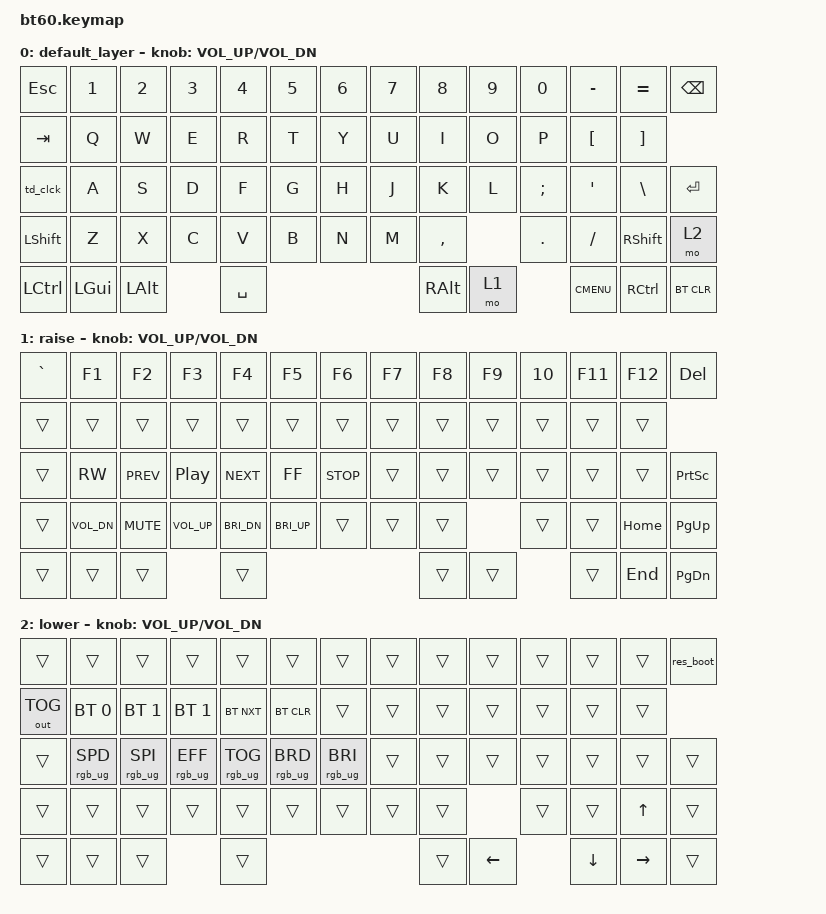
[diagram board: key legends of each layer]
#include <behaviors.dtsi>
#include <dt-bindings/zmk/keys.h>
#include <dt-bindings/zmk/bt.h>
#include <dt-bindings/zmk/rgb.h>
#include <dt-bindings/zmk/backlight.h>
#include <dt-bindings/zmk/outputs.h>

#define default 0
#define raise 1
#define lower 2

/ {
	behaviors {
		td_clck: tap_dance_caps_lower {
		    compatible = "zmk,behavior-tap-dance";
		    label = "TAP_DANCE_CAPS_LOWER";
		    #binding-cells = <0>;
		    tapping-term-ms = <200>;
		    bindings = <&mo 2>, <&kp CLCK>;
		};
		res_boot: reset_bootloader {
		    compatible = "zmk,behavior-mod-morph";
		    label = "RESET_BOOTLOAD";
		    #binding-cells = <0>;
		    bindings = <&reset>, <&bootloader>;
		    mods = <(MOD_LCTL|MOD_LSFT)>;
		};
    	};
	
	keymap {
		compatible = "zmk,keymap";
default_layer {
				// ------------------------------------------------------------------------------------------
				// | ESC |  1  |  2  |  3  |  4  |  5  |  6  |  7  |  8  |  9  |  0  |  -  |  =  |   BKSP   |
				// | TAB  |  Q  |  W  |  E  |  R  |  T  |  Y  |  U  |  I  |  O  |  P  |  [  |  ]  |         |
				// | CAPS  |  A  |  S  |  D  |  F  |  G  |  H  |  J  |  K  |  L  |  ;  |  '  |  \   | ENTER |
				// |  SHIFT    |  Z  |  X  |  C  |  V  |  B  |  N  |  M  |  ,  |  .  | /   |   SHIFT  |  2  |
				// |  CTL  |  WIN  |  ALT  |            SPACE                 |  ALT |  1   |  MENU  | CTRL |
				// ------------------------------------------------------------------------------------------
			bindings = <
				&kp ESC 	&kp N1 	&kp N2 	&kp N3 	&kp N4 	&kp N5 	&kp N6 	&kp N7 	&kp N8 	&kp N9 	&kp N0		&kp MINUS 	&kp EQUAL 	&kp BSPC
				&kp TAB  	&kp Q  	&kp W  	&kp E  	&kp R  	&kp T  	&kp Y  	&kp U  	&kp I  	&kp O  	&kp P  		&kp LBKT 	&kp RBKT
				&td_clck  	&kp A 	&kp S 	&kp D  	&kp F  	&kp G  	&kp H  	&kp J  	&kp K  	&kp L  	&kp SEMI	&kp SQT  	&kp BSLH  	&kp RET
				&kp LSHFT     	&kp Z  	&kp X  	&kp C  	&kp V  	&kp B  	&kp N  	&kp M  	&kp COMMA	&kp DOT  	&kp FSLH  	&kp RSHFT 	&mo 2
				&kp LCTRL 	&kp LGUI 	&kp LALT 		&kp SPACE              		&kp RALT 	&mo 1 		&kp K_CMENU 	&kp RCTRL 	&bt BT_CLR
			>;
			sensor-bindings = <&inc_dec_kp C_VOL_UP C_VOL_DN>;
		};
		raise {
				// ------------------------------------------------------------------------------------------
				// |GRAVE| F1  | F2  | F3  | F4  | F5  | F6  | F7  | F8  | F9  | F10 | F11 | F12 |   DEL   |
				// | TAB  |  Q  |  W  |  E  |  R  |  T  |  Y  |  U  |  I  |  O  |  P  |  [  |  ]  |        |
				// | CAPS  |RWND |PREV |PLAY |NEXT |FFWD |STOP |  J  |  K  |  L  |  ;  |  '  |  \  | PSCR  |
				// |  SHIFT    |VOLD |MUTE |VOLU |SCRD |SCRU |  N  |  M  |  ,  |  .  |  /  |   HOME  | PGUP|
				// |  CTL  |  WIN  |  ALT  |            SPACE                | ALT  |  1    |  END  | PGDN |
				// ------------------------------------------------------------------------------------------
			bindings = <
				&kp GRAVE 	&kp F1 		&kp F2 		&kp F3 		&kp F4 		&kp F5 		&kp F6 		&kp F7 	&kp F8 	&kp F9 	&kp 10		&kp F11 	&kp F12 	&kp DEL
				&trans  	&trans 		&trans 		&trans 		&trans 		&trans 		&trans 		&trans 	&trans 	&trans 	&trans	 	&trans 		&trans
				&trans  	&kp C_RW	&kp C_PREV	&kp C_PP	&kp C_NEXT	&kp C_FF	&kp C_STOP	&trans 	&trans 	&trans 	&trans		&trans  	&trans  	&kp PSCRN
				&trans  	&kp C_VOL_DN 	&kp C_MUTE 	&kp C_VOL_UP 	&kp C_BRI_DN 	&kp C_BRI_UP 	&trans 		&trans 	&trans		&trans  	&trans  	&kp HOME	&kp PG_UP
				&trans 		&trans 		&trans 					&trans              				&trans 		&trans 		&trans 		&kp END		&kp PG_DN
			>;
			sensor-bindings = <&inc_dec_kp C_VOL_UP C_VOL_DN>;
		};
		lower {
				// ------------------------------------------------------------------------------------------
				// | ESC |  1  |  2  |  3  |  4  |  5  |  6  |  7  |  8  |  9  |  0  |  -  |  =  | RES_BOOT |
				// |BTTOG | BT0 | BT1 | BT3 |BTNXT|BTCLR|  Y  |  U  |  I  |  O  |  P  |  [  |  ]  |         |
				// | CAPS  |  A  |  S  |  D  |  F  |  G  |  H  |  J  |  K  |  L  |  ;  |  '  |  \   | ENTER |
				// |  SHIFT    |  Z  |  X  |  C  |  V  |  B  |  N  |  M  |  ,  |  .  | /   |   UP     |  2  |
				// |  CTL  |  WIN  |  ALT  |            SPACE                 |  ALT | LEFT | DOWN  | RIGHT |
				// ------------------------------------------------------------------------------------------
			bindings = <
				&trans		&trans 		&trans 		&trans 		&trans 		&trans 		&trans 		&trans 	&trans 	&trans 	&trans		&trans 		&trans 		&res_boot
				&out OUT_TOG  	&bt BT_SEL 0 	&bt BT_SEL 1 	&bt BT_SEL 1  	&bt BT_NXT 	&bt BT_CLR 	&trans 		&trans 	&trans 	&trans 	&trans		&trans 		&trans
				&trans		&rgb_ug RGB_SPD	&rgb_ug RGB_SPI	&rgb_ug RGB_EFF	&rgb_ug RGB_TOG	&rgb_ug RGB_BRD	&rgb_ug RGB_BRI	&trans 	&trans 	&trans 	&trans		&trans  	&trans  	&trans
				&trans  	&trans 		&trans 		&trans 		&trans 		&trans 		&trans 		&trans 	&trans		&trans  	&trans 		&kp UP 		&trans
				&trans 		&trans 		&trans 					&trans              				&trans 		&kp LEFT	&kp DOWN	&kp RIGHT	&trans
			>;
			sensor-bindings = <&inc_dec_kp C_VOL_UP C_VOL_DN>;
		};
	};
};
